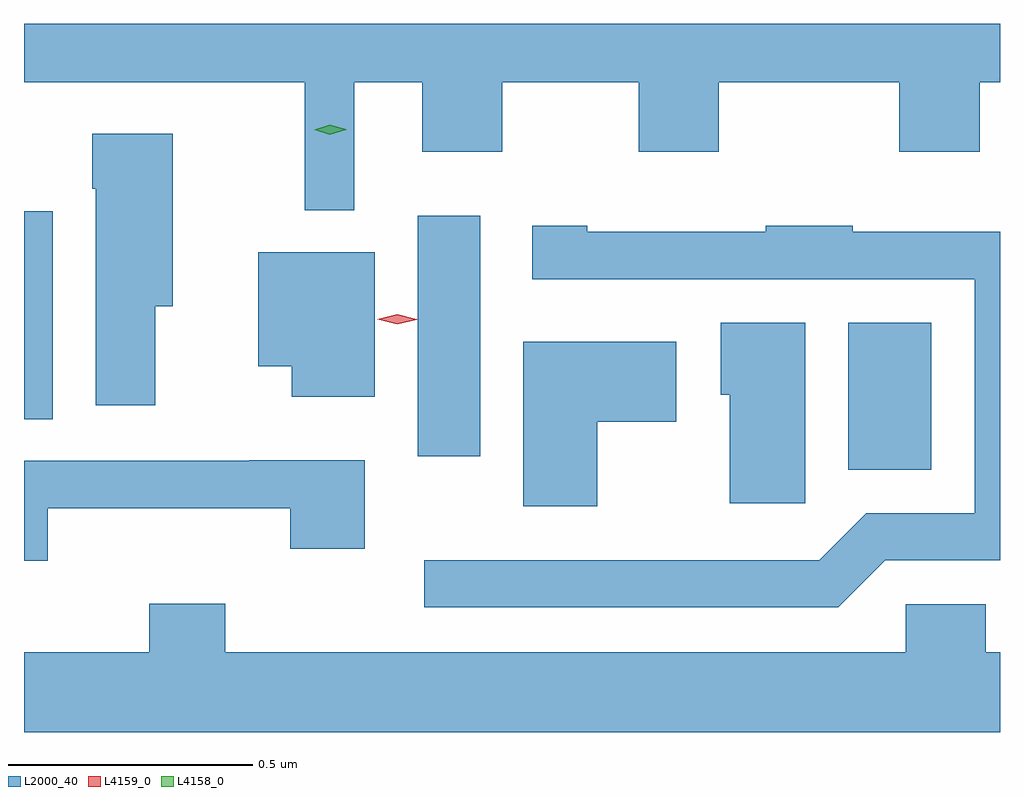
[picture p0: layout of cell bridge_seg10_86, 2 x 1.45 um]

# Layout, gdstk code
import gdstk
lib = gdstk.Library(unit=1e-6, precision=1e-09)
def R(c, l, rs):  # rectangles x0, y0, x1, y1
    for r in rs: c.add(gdstk.rectangle(r[:2], r[2:], *l))
def P(c, l, *ps):  # polygons
    for p in ps: c.add(gdstk.Polygon(p, *l))
L2000_40 = (2000, 40)
L4158_0 = (4158, 0)
L4159_0 = (4159, 0)

bridge_seg10_86 = lib.new_cell('bridge_seg10_86')
R(bridge_seg10_86, L2000_40, [(659.966,1283.537,660.136,1283.839), (659.084,1283.565,659.212,1284.058), (658.277,1283.641,658.336,1284.067)])
P(bridge_seg10_86, L2000_40, [(658.954,1284.332),(659.093,1284.332),(659.093,1284.189),(659.257,1284.189),(659.257,1284.332),(659.537,1284.332),(659.537,1284.189),(659.701,1284.189),(659.701,1284.332),(660.071,1284.332),(660.071,1284.189),(660.235,1284.189),(660.235,1284.332),(660.277,1284.332),(660.277,1284.451),(658.277,1284.451),(658.277,1284.332),(658.852,1284.332),(658.852,1284.069),(658.954,1284.069)],
  [(658.546,1283.873),(658.582,1283.873),(658.582,1284.226),(658.417,1284.226),(658.417,1284.113),(658.424,1284.113),(658.424,1283.67),(658.546,1283.67)],
  [(660.042,1283.352),(660.277,1283.352),(660.277,1284.025),(659.975,1284.025),(659.975,1284.037),(659.797,1284.037),(659.797,1284.025),(659.431,1284.025),(659.431,1284.037),(659.319,1284.037),(659.319,1283.928),(660.225,1283.928),(660.225,1283.448),(660.003,1283.448),(659.907,1283.352),(659.097,1283.352),(659.097,1283.256),(659.946,1283.256)],
  [(658.996,1283.983),(658.757,1283.983),(658.757,1283.75),(658.826,1283.75),(658.826,1283.687),(658.996,1283.687)],
  [(659.878,1283.839),(659.705,1283.839),(659.705,1283.691),(659.723,1283.691),(659.723,1283.469),(659.878,1283.469)],
  [(659.452,1283.636),(659.614,1283.636),(659.614,1283.8),(659.3,1283.8),(659.3,1283.463),(659.452,1283.463)],
  [(658.326,1283.459),(658.823,1283.459),(658.823,1283.376),(658.975,1283.376),(658.975,1283.557),(658.739,1283.557),(658.739,1283.556),(658.277,1283.556),(658.277,1283.351),(658.326,1283.351)],
  [(660.277,1283.164),(660.248,1283.164),(660.248,1283.262),(660.084,1283.262),(660.084,1283.164),(658.689,1283.164),(658.689,1283.263),(658.534,1283.263),(658.534,1283.164),(658.277,1283.164),(658.277,1283),(660.277,1283)])
P(bridge_seg10_86, L4158_0, [(658.904,1284.224),(658.872,1284.234),(658.871,1284.234),(658.872,1284.234),(658.904,1284.244),(658.937,1284.235),(658.937,1284.234),(658.937,1284.234)])
P(bridge_seg10_86, L4159_0, [(659.042,1283.836),(659.001,1283.846),(659.001,1283.846),(659.001,1283.846),(659.042,1283.856),(659.082,1283.846),(659.083,1283.846),(659.082,1283.845)])

lib.write_gds('bridge_seg10_86.gds')
